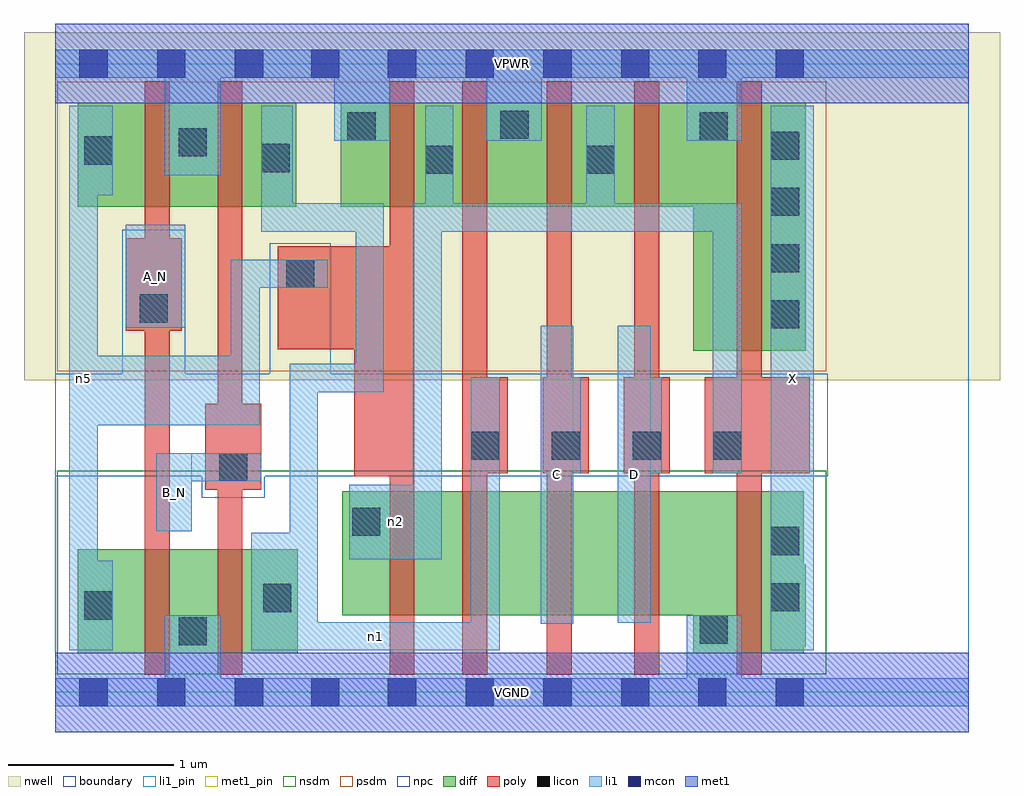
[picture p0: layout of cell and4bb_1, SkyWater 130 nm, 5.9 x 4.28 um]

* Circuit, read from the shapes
.subckt and4bb_1 A_N B_N C D VGND VPWR X n1 n2 n5
XM1 VGND A_N n5 VSUBS sky130_fd_pr__nfet_01v8 w=0.63 l=0.15
XM2 n1 B_N VGND VSUBS sky130_fd_pr__nfet_01v8 w=0.63 l=0.15
XM3 n3 n5 n2 VSUBS sky130_fd_pr__nfet_01v8 w=0.75 l=0.15
XM4 n4 n1 n3 VSUBS sky130_fd_pr__nfet_01v8 w=0.75 l=0.15
XM5 n6 C n4 VSUBS sky130_fd_pr__nfet_01v8 w=0.75 l=0.15
XM6 VGND D n6 VSUBS sky130_fd_pr__nfet_01v8 w=0.75 l=0.15
XM7 X n2 VGND VSUBS sky130_fd_pr__nfet_01v8 w=0.98 l=0.15
XM8 VPWR A_N n5 n7 sky130_fd_pr__pfet_01v8 w=0.63 l=0.15
XM9 n1 B_N VPWR n7 sky130_fd_pr__pfet_01v8 w=0.63 l=0.15
XM10 n2 n5 VPWR n7 sky130_fd_pr__pfet_01v8 w=0.63 l=0.15
XM11 VPWR n1 n2 n7 sky130_fd_pr__pfet_01v8 w=0.63 l=0.15
XM12 n2 C VPWR n7 sky130_fd_pr__pfet_01v8 w=0.63 l=0.15
XM13 VPWR D n2 n7 sky130_fd_pr__pfet_01v8 w=0.63 l=0.15
XM14 X n2 VPWR n7 sky130_fd_pr__pfet_01v8 w=1.5 l=0.15
.ends

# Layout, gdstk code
import gdstk
lib = gdstk.Library(unit=1e-6, precision=1e-09)
def R(c, l, rs):  # rectangles x0, y0, x1, y1
    for r in rs: c.add(gdstk.rectangle(r[:2], r[2:], *l))
def A(c, l, x, y, w, h, nx, ny, dx, dy):  # array of equal rectangles
    R(c, l, [(x+i*dx, y+j*dy, x+i*dx+w, y+j*dy+h) for i in range(nx) for j in range(ny)])
nwell = (64, 20)
diff = (65, 20)
poly = (66, 20)
licon = (66, 44)
li1_pin = (67, 16)
li1 = (67, 20)
mcon = (67, 44)
met1_pin = (68, 16)
met1 = (68, 20)
nsdm = (93, 44)
psdm = (94, 20)
npc = (95, 20)
boundary = (235, 4)

and4bb_1 = lib.new_cell('and4bb_1')
R(and4bb_1, nwell, [(-0.19,1.885,5.71,3.99), (0,1.885,5.52,3.99)])
R(and4bb_1, diff, [(0.135,0.235,1.465,0.865), (3.855,0.235,4.525,1.215), (3.855,0.275,4.535,0.775), (1.735,0.465,4.525,1.215), (3.855,2.065,4.535,3.565), (0.135,2.935,1.455,3.565), (1.725,2.935,4.535,3.565)])
R(and4bb_1, poly, [(0.54,0.105,0.69,3.695), (0.98,0.105,1.13,3.695), (2.02,0.105,2.17,3.695), (2.46,0.105,2.61,3.695), (2.97,0.105,3.12,3.695), (3.5,0.105,3.65,3.695), (4.12,0.105,4.27,3.695), (0.905,1.225,1.245,1.745), (1.805,1.305,2.17,2.695), (2.46,1.325,2.735,1.905), (2.945,1.325,3.225,1.905), (3.435,1.325,3.715,1.905), (3.925,1.325,4.56,1.905), (1.345,2.075,2.17,2.695), (0.425,2.185,0.765,2.745)])
A(and4bb_1, licon, 2.51, 1.405, 0.17, 0.17, 3, 1, 0.49, 0)
A(and4bb_1, licon, 4.325, 2.2, 0.17, 0.17, 1, 4, 0, 0.34)
R(and4bb_1, licon, [(0.745,0.285,0.915,0.455), (3.895,0.295,4.065,0.465), (0.175,0.44,0.345,0.61), (1.255,0.485,1.425,0.655), (4.325,0.49,4.495,0.66), (4.325,0.83,4.495,1), (1.795,0.945,1.965,1.115), (0.99,1.275,1.16,1.445), (3.975,1.405,4.145,1.575), (0.51,2.235,0.68,2.405), (1.395,2.445,1.565,2.615), (2.235,3.135,2.405,3.305), (3.21,3.135,3.38,3.305), (1.245,3.145,1.415,3.315), (0.175,3.19,0.345,3.36), (0.745,3.24,0.915,3.41), (1.765,3.335,1.935,3.505), (3.895,3.335,4.065,3.505), (2.69,3.345,2.86,3.515)])
R(and4bb_1, li1_pin, [(4.325,0.255,4.585,3.545), (2.935,0.415,3.13,2.215), (3.4,0.42,3.6,2.215), (0.61,0.975,0.825,1.445), (0.425,2.205,0.785,2.825)])
R(and4bb_1, li1, [(0,-0.085,5.52,0.085), (0.66,-0.085,1,0.465), (3.815,-0.085,4.15,0.465), (0.085,0.255,0.255,3.545), (0.085,0.255,0.345,0.795), (1.185,0.255,2.685,0.425), (1.185,0.255,1.585,0.965), (1.415,0.255,1.585,1.985), (2.51,0.255,2.685,1.905), (4.325,0.255,4.585,3.545), (2.935,0.415,3.13,2.215), (3.4,0.42,3.6,2.215), (1.775,0.805,2.335,1.255), (2.16,0.805,2.335,2.955), (0.61,0.975,0.825,1.445), (0.61,1.275,1.245,1.445), (2.935,1.325,3.175,1.905), (3.4,1.325,3.665,1.905), (3.975,1.325,4.15,2.955), (0.085,1.615,1.235,2.035), (1.06,1.615,1.235,2.615), (1.415,1.815,1.985,1.985), (1.815,1.815,1.985,2.955), (0.425,2.205,0.785,2.825), (1.06,2.445,1.645,2.615), (1.245,2.785,1.435,3.545), (1.245,2.785,1.985,2.955), (2.16,2.785,4.15,2.955), (2.235,2.785,2.405,3.545), (3.21,2.785,3.38,3.545), (0.085,3.005,0.345,3.545), (0.66,3.125,1,3.885), (1.685,3.335,2.02,3.885), (2.605,3.335,2.94,3.885), (3.815,3.335,4.15,3.885), (0,3.715,5.52,3.885)])
A(and4bb_1, mcon, 0.145, -0.085, 0.17, 0.17, 3, 2, 0.47, 3.8)
A(and4bb_1, mcon, 2.01, -0.085, 0.17, 0.17, 4, 2, 0.47, 3.8)
R(and4bb_1, mcon, [(1.545,-0.085,1.715,0.085), (3.885,-0.085,4.055,0.085), (4.355,-0.085,4.525,0.085), (1.545,3.715,1.715,3.885), (3.885,3.715,4.055,3.885), (4.355,3.715,4.525,3.885)])
R(and4bb_1, met1_pin, [(0,-0.24,5.52,0.24), (0,3.56,5.52,4.04)])
R(and4bb_1, met1, [(0,-0.24,5.52,0.24), (0,3.56,5.52,4.04)])
R(and4bb_1, nsdm, [(0.01,0.11,4.66,1.34)])
R(and4bb_1, psdm, [(0.01,1.94,4.66,3.69)])
R(and4bb_1, npc, [(0.885,1.175,1.265,1.925), (0,1.305,4.67,1.925), (0.405,1.305,0.785,2.795), (1.295,1.305,1.665,2.715)])
R(and4bb_1, boundary, [(0,0,5.52,3.8)])
and4bb_1.add(gdstk.Label('A_N', (0.605,2.515), layer=67, texttype=5))
and4bb_1.add(gdstk.Label('B_N', (0.717,1.21), layer=67, texttype=5))
and4bb_1.add(gdstk.Label('C', (3.032,1.315), layer=67, texttype=5))
and4bb_1.add(gdstk.Label('D', (3.5,1.317), layer=67, texttype=5))
and4bb_1.add(gdstk.Label('X', (4.455,1.9), layer=67, texttype=5))
and4bb_1.add(gdstk.Label('n5', (0.17,1.9), layer=67, texttype=5))
and4bb_1.add(gdstk.Label('n1', (1.935,0.34), layer=67, texttype=5))
and4bb_1.add(gdstk.Label('n2', (2.055,1.03), layer=67, texttype=5))
and4bb_1.add(gdstk.Label('VPWR', (2.76,3.8), layer=68, texttype=5))
and4bb_1.add(gdstk.Label('VGND', (2.76,0), layer=68, texttype=5))
and4bb_1.add(gdstk.Label('A_N', (0.605,2.515), layer=67, texttype=16))
and4bb_1.add(gdstk.Label('B_N', (0.717,1.21), layer=67, texttype=16))
and4bb_1.add(gdstk.Label('C', (3.032,1.315), layer=67, texttype=16))
and4bb_1.add(gdstk.Label('D', (3.5,1.317), layer=67, texttype=16))
and4bb_1.add(gdstk.Label('X', (4.455,1.9), layer=67, texttype=16))
and4bb_1.add(gdstk.Label('VPWR', (2.76,3.8), layer=68, texttype=16))
and4bb_1.add(gdstk.Label('VGND', (2.76,0), layer=68, texttype=16))

lib.write_gds('and4bb_1.gds')
